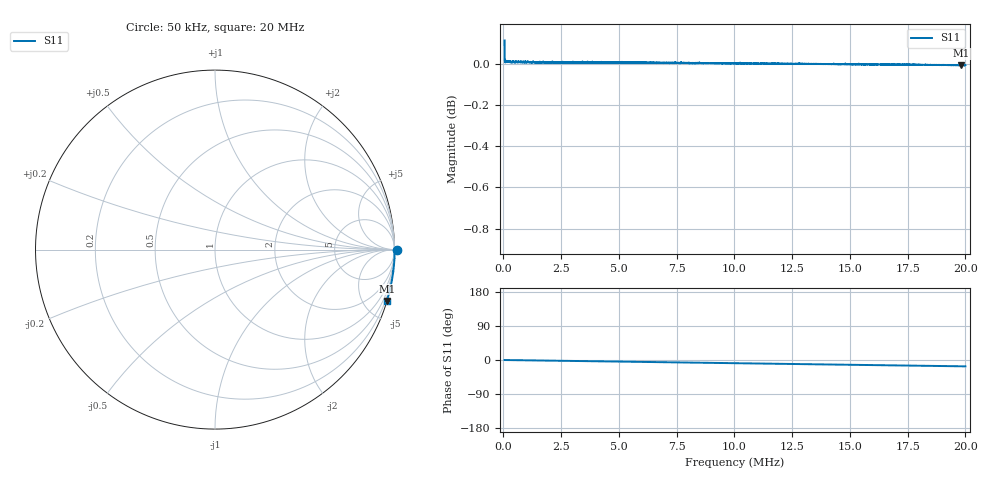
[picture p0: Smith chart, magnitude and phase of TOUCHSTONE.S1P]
!Keysight Technologies,E5063A,MY54100949,A.07.30
!Date: Wed Nov 26 00:28:14 2025
!Data & Calibration Information:
!Freq	S11:SOLT1(ON)
# Hz S RI R 50
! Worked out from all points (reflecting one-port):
!   10001 points, 50 kHz to 20 MHz, reference 50 ohm
!   lowest |S11| = 0.0 dB at 19.83 MHz (marker M1)
!   phase of S11 starts at -0 deg and turns -17 deg over the sweep
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50000  1.013 -0.000352
99875  1.002 -0.00155
151745  1.001 -0.00268
159725  1.001 -0.00258
209600  1.001 -0.00322
423065  1.001 -0.00605
873935  1.001 -0.0124
1468445  1.001 -0.0213
1669940  1.001 -0.0242
2543750  1 -0.0369
3772670  0.9993 -0.0551
5037500  0.9981 -0.0737
6082880  0.9968 -0.0889
7531250  0.9946 -0.1102
8572640  0.9927 -0.1255
1.0025e7  0.9896 -0.1467
1.120804e7  0.9867 -0.1639
1.251875e7  0.9833 -0.1828
1.288384e7  0.9824 -0.188
1.359804e7  0.9802 -0.1983
1.422448e7  0.9783 -0.2072
1.50125e7  0.9758 -0.2184
1.646885e7  0.9707 -0.239
1.750625e7  0.9669 -0.2536
1.885288e7  0.9617 -0.2724
1.982843e7  0.9575 -0.2858
1.993018e7  0.9572 -0.2872
2e7  0.9569 -0.2881
